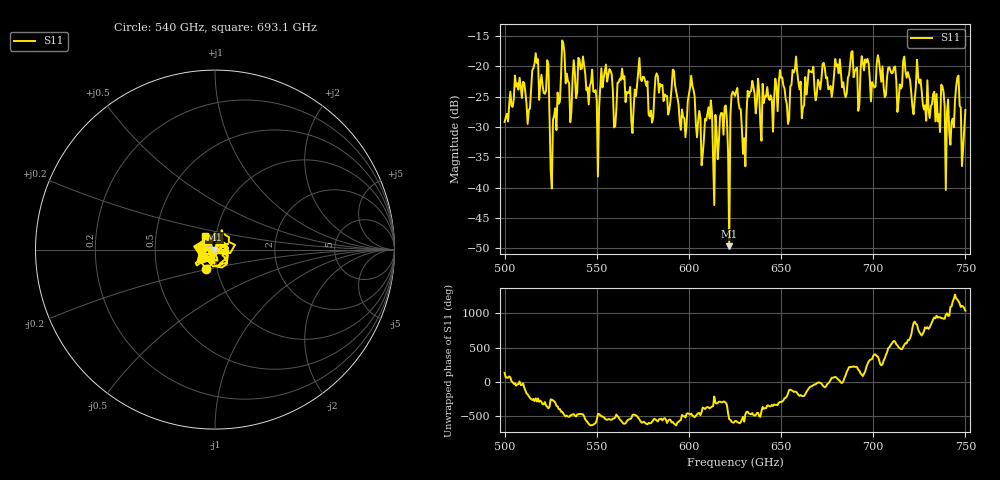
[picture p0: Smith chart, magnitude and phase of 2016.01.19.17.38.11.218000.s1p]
!Created with skrf (http://scikit-rf.org).
# GHz S RI R 50.0
!freq ReS11 ImS11
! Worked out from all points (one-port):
!   401 points, 500 GHz to 750 GHz, reference 50 ohm
!   lowest |S11| = -49.6 dB at 621.9 GHz (marker M1), VSWR 1.01, Z = 49.7 + j0.0346 ohm
!   |S11| at or under -10 dB: start of sweep to end of sweep
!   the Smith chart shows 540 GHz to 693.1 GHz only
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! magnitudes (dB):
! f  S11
! 500 GHz  -29.1
! 506.9 GHz  -22.8
! 513.1 GHz  -27.2
! 516.9 GHz  -17.8
! 523.1 GHz  -19.0
! 525.6 GHz  -40.1
! 531.2 GHz  -15.7
! 535.6 GHz  -29.2
! 541.9 GHz  -20.4
! 550 GHz  -25.6
! 553.8 GHz  -21.9
! 560 GHz  -29.9
! 562.5 GHz  -22.0
! 593.8 GHz  -25.1
! 601.9 GHz  -23.2
! 621.9 GHz  -49.6
! 625 GHz  -24.9
! 630 GHz  -31.8
! 633.1 GHz  -24.2
! 653.1 GHz  -26.2
! 656.2 GHz  -20.6
! 662.5 GHz  -26.5
! 687.5 GHz  -19.6
! 718.8 GHz  -20.9
! 737.5 GHz  -23.3
! 740.6 GHz  -25.5
! 745.6 GHz  -21.8
! 750 GHz  -27.2
